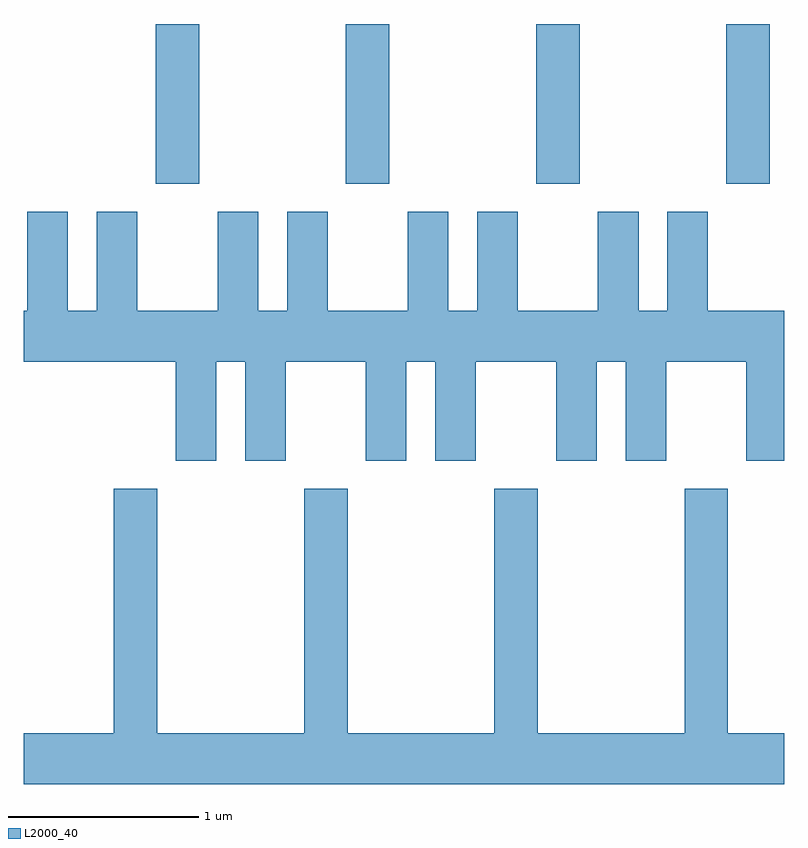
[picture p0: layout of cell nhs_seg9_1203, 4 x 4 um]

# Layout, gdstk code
import gdstk
lib = gdstk.Library(unit=1e-6, precision=1e-09)
def R(c, l, rs):  # rectangles x0, y0, x1, y1
    for r in rs: c.add(gdstk.rectangle(r[:2], r[2:], *l))
def A(c, l, x, y, w, h, nx, ny, dx, dy):  # array of equal rectangles
    R(c, l, [(x+i*dx, y+j*dy, x+i*dx+w, y+j*dy+h) for i in range(nx) for j in range(ny)])
def P(c, l, *ps):  # polygons
    for p in ps: c.add(gdstk.Polygon(p, *l))
L2000_40 = (2000, 40)

nhs_seg9_1203 = lib.new_cell('nhs_seg9_1203')
A(nhs_seg9_1203, L2000_40, 220.306, 2041.591, 0.228, 0.841, 4, 1, 1, 0)
P(nhs_seg9_1203, L2000_40, [(220.624,2040.656),(220.776,2040.656),(220.776,2040.136),(220.989,2040.136),(220.989,2040.656),(221.411,2040.656),(221.411,2040.136),(221.624,2040.136),(221.624,2040.656),(221.776,2040.656),(221.776,2040.136),(221.989,2040.136),(221.989,2040.656),(222.411,2040.656),(222.411,2040.136),(222.624,2040.136),(222.624,2040.656),(222.776,2040.656),(222.776,2040.136),(222.989,2040.136),(222.989,2040.656),(223.411,2040.656),(223.411,2040.136),(223.611,2040.136),(223.611,2040.924),(223.209,2040.924),(223.209,2041.444),(222.996,2041.444),(222.996,2040.924),(222.844,2040.924),(222.844,2041.444),(222.631,2041.444),(222.631,2040.924),(222.209,2040.924),(222.209,2041.444),(221.996,2041.444),(221.996,2040.924),(221.844,2040.924),(221.844,2041.444),(221.631,2041.444),(221.631,2040.924),(221.209,2040.924),(221.209,2041.444),(220.996,2041.444),(220.996,2040.924),(220.844,2040.924),(220.844,2041.444),(220.631,2041.444),(220.631,2040.924),(220.209,2040.924),(220.209,2041.444),(219.996,2041.444),(219.996,2040.924),(219.844,2040.924),(219.844,2041.444),(219.631,2041.444),(219.631,2040.924),(219.611,2040.924),(219.611,2040.656),(220.411,2040.656),(220.411,2040.136),(220.624,2040.136)],
  [(223.611,2038.704),(223.314,2038.704),(223.314,2039.989),(223.086,2039.989),(223.086,2038.704),(222.314,2038.704),(222.314,2039.989),(222.086,2039.989),(222.086,2038.704),(221.314,2038.704),(221.314,2039.989),(221.086,2039.989),(221.086,2038.704),(220.314,2038.704),(220.314,2039.989),(220.086,2039.989),(220.086,2038.704),(219.611,2038.704),(219.611,2038.436),(223.611,2038.436)])

lib.write_gds('nhs_seg9_1203.gds')
